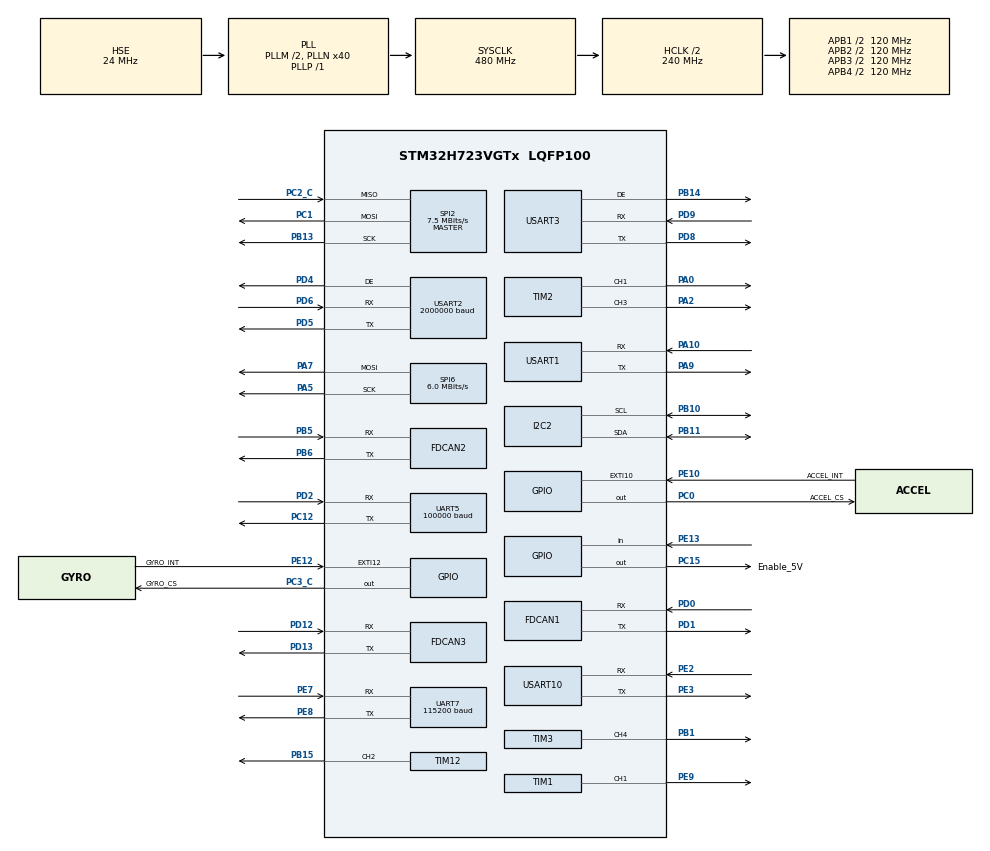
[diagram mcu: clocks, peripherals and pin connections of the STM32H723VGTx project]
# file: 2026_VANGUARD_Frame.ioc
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CORTEX_M7.AccessPermission_Spec=MPU_REGION_FULL_ACCESS
CORTEX_M7.BaseAddress_Spec=0x24000000
CORTEX_M7.CPU_DCache=Disabled
CORTEX_M7.CPU_ICache=Disabled
CORTEX_M7.DisableExec_Spec=MPU_INSTRUCTION_ACCESS_ENABLE
CORTEX_M7.IsShareable_Spec=MPU_ACCESS_NOT_SHAREABLE
CORTEX_M7.MPU_Control=__NULL
CORTEX_M7.Size_Spec=MPU_REGION_SIZE_512KB
CORTEX_M7.SubRegionDisable_Spec=0x0
CORTEX_M7.TypeExtField_Spec=MPU_TEX_LEVEL1
CORTEX_M7.default_mode_Activation=0
Dma.Request0=UART7_RX
Dma.Request1=UART7_TX
Dma.Request2=SPI2_RX
Dma.Request3=SPI2_TX
Dma.Request4=UART5_RX
Dma.Request5=USART1_RX
Dma.Request6=USART1_TX
Dma.Request7=USART2_RX
Dma.Request8=USART2_TX
Dma.SPI2_RX.2.Direction=DMA_PERIPH_TO_MEMORY
Dma.SPI2_RX.2.EventEnable=DISABLE
Dma.SPI2_RX.2.FIFOMode=DMA_FIFOMODE_DISABLE
Dma.SPI2_RX.2.Instance=DMA1_Stream2
Dma.SPI2_RX.2.MemDataAlignment=DMA_MDATAALIGN_BYTE
Dma.SPI2_RX.2.MemInc=DMA_MINC_ENABLE
Dma.SPI2_RX.2.Mode=DMA_NORMAL
Dma.SPI2_RX.2.PeriphDataAlignment=DMA_PDATAALIGN_BYTE
Dma.SPI2_RX.2.PeriphInc=DMA_PINC_DISABLE
Dma.SPI2_RX.2.Polarity=HAL_DMAMUX_REQ_GEN_RISING
Dma.SPI2_RX.2.Priority=DMA_PRIORITY_MEDIUM
Dma.SPI2_RX.2.RequestNumber=1
Dma.SPI2_RX.2.SignalID=NONE
Dma.SPI2_RX.2.SyncEnable=DISABLE
Dma.SPI2_RX.2.SyncPolarity=HAL_DMAMUX_SYNC_NO_EVENT
Dma.SPI2_RX.2.SyncRequestNumber=1
Dma.SPI2_RX.2.SyncSignalID=NONE
Dma.SPI2_TX.3.Direction=DMA_MEMORY_TO_PERIPH
Dma.SPI2_TX.3.EventEnable=DISABLE
Dma.SPI2_TX.3.FIFOMode=DMA_FIFOMODE_DISABLE
Dma.SPI2_TX.3.Instance=DMA1_Stream3
Dma.SPI2_TX.3.MemDataAlignment=DMA_MDATAALIGN_BYTE
Dma.SPI2_TX.3.MemInc=DMA_MINC_ENABLE
Dma.SPI2_TX.3.Mode=DMA_NORMAL
Dma.SPI2_TX.3.PeriphDataAlignment=DMA_PDATAALIGN_BYTE
Dma.SPI2_TX.3.PeriphInc=DMA_PINC_DISABLE
Dma.SPI2_TX.3.Polarity=HAL_DMAMUX_REQ_GEN_RISING
Dma.SPI2_TX.3.Priority=DMA_PRIORITY_LOW
Dma.SPI2_TX.3.RequestNumber=1
Dma.SPI2_TX.3.SignalID=NONE
Dma.SPI2_TX.3.SyncEnable=DISABLE
Dma.SPI2_TX.3.SyncPolarity=HAL_DMAMUX_SYNC_NO_EVENT
Dma.SPI2_TX.3.SyncRequestNumber=1
Dma.SPI2_TX.3.SyncSignalID=NONE
Dma.UART5_RX.4.Direction=DMA_PERIPH_TO_MEMORY
Dma.UART5_RX.4.EventEnable=DISABLE
Dma.UART5_RX.4.FIFOMode=DMA_FIFOMODE_DISABLE
Dma.UART5_RX.4.Instance=DMA1_Stream4
Dma.UART5_RX.4.MemDataAlignment=DMA_MDATAALIGN_BYTE
Dma.UART5_RX.4.MemInc=DMA_MINC_ENABLE
Dma.UART5_RX.4.Mode=DMA_NORMAL
Dma.UART5_RX.4.PeriphDataAlignment=DMA_PDATAALIGN_BYTE
Dma.UART5_RX.4.PeriphInc=DMA_PINC_DISABLE
Dma.UART5_RX.4.Polarity=HAL_DMAMUX_REQ_GEN_RISING
Dma.UART5_RX.4.Priority=DMA_PRIORITY_LOW
Dma.UART5_RX.4.RequestNumber=1
Dma.UART5_RX.4.SignalID=NONE
Dma.UART5_RX.4.SyncEnable=DISABLE
Dma.UART5_RX.4.SyncPolarity=HAL_DMAMUX_SYNC_NO_EVENT
Dma.UART5_RX.4.SyncRequestNumber=1
Dma.UART5_RX.4.SyncSignalID=NONE
Dma.UART7_RX.0.Direction=DMA_PERIPH_TO_MEMORY
Dma.UART7_RX.0.EventEnable=DISABLE
Dma.UART7_RX.0.FIFOMode=DMA_FIFOMODE_DISABLE
Dma.UART7_RX.0.Instance=DMA1_Stream0
Dma.UART7_RX.0.MemDataAlignment=DMA_MDATAALIGN_BYTE
Dma.UART7_RX.0.MemInc=DMA_MINC_ENABLE
Dma.UART7_RX.0.Mode=DMA_NORMAL
Dma.UART7_RX.0.PeriphDataAlignment=DMA_PDATAALIGN_BYTE
Dma.UART7_RX.0.PeriphInc=DMA_PINC_DISABLE
Dma.UART7_RX.0.Polarity=HAL_DMAMUX_REQ_GEN_RISING
Dma.UART7_RX.0.Priority=DMA_PRIORITY_LOW
Dma.UART7_RX.0.RequestNumber=1
Dma.UART7_RX.0.SignalID=NONE
Dma.UART7_RX.0.SyncEnable=DISABLE
Dma.UART7_RX.0.SyncPolarity=HAL_DMAMUX_SYNC_NO_EVENT
Dma.UART7_RX.0.SyncRequestNumber=1
Dma.UART7_RX.0.SyncSignalID=NONE
Dma.UART7_TX.1.Direction=DMA_MEMORY_TO_PERIPH
Dma.UART7_TX.1.EventEnable=DISABLE
Dma.UART7_TX.1.FIFOMode=DMA_FIFOMODE_DISABLE
Dma.UART7_TX.1.Instance=DMA1_Stream1
Dma.UART7_TX.1.MemDataAlignment=DMA_MDATAALIGN_BYTE
Dma.UART7_TX.1.MemInc=DMA_MINC_ENABLE
Dma.UART7_TX.1.Mode=DMA_NORMAL
Dma.UART7_TX.1.PeriphDataAlignment=DMA_PDATAALIGN_BYTE
Dma.UART7_TX.1.PeriphInc=DMA_PINC_DISABLE
Dma.UART7_TX.1.Polarity=HAL_DMAMUX_REQ_GEN_RISING
Dma.UART7_TX.1.Priority=DMA_PRIORITY_LOW
Dma.UART7_TX.1.RequestNumber=1
Dma.UART7_TX.1.SignalID=NONE
Dma.UART7_TX.1.SyncEnable=DISABLE
Dma.UART7_TX.1.SyncPolarity=HAL_DMAMUX_SYNC_NO_EVENT
Dma.UART7_TX.1.SyncRequestNumber=1
Dma.UART7_TX.1.SyncSignalID=NONE
Dma.USART1_RX.5.Direction=DMA_PERIPH_TO_MEMORY
Dma.USART1_RX.5.EventEnable=DISABLE
Dma.USART1_RX.5.FIFOMode=DMA_FIFOMODE_DISABLE
Dma.USART1_RX.5.Instance=DMA1_Stream5
Dma.USART1_RX.5.MemDataAlignment=DMA_MDATAALIGN_BYTE
Dma.USART1_RX.5.MemInc=DMA_MINC_ENABLE
Dma.USART1_RX.5.Mode=DMA_NORMAL
Dma.USART1_RX.5.PeriphDataAlignment=DMA_PDATAALIGN_BYTE
Dma.USART1_RX.5.PeriphInc=DMA_PINC_DISABLE
Dma.USART1_RX.5.Polarity=HAL_DMAMUX_REQ_GEN_RISING
Dma.USART1_RX.5.Priority=DMA_PRIORITY_VERY_HIGH
Dma.USART1_RX.5.RequestNumber=1
Dma.USART1_RX.5.SignalID=NONE
Dma.USART1_RX.5.SyncEnable=DISABLE
Dma.USART1_RX.5.SyncPolarity=HAL_DMAMUX_SYNC_NO_EVENT
Dma.USART1_RX.5.SyncRequestNumber=1
Dma.USART1_RX.5.SyncSignalID=NONE
Dma.USART1_TX.6.Direction=DMA_MEMORY_TO_PERIPH
Dma.USART1_TX.6.EventEnable=DISABLE
Dma.USART1_TX.6.FIFOMode=DMA_FIFOMODE_DISABLE
Dma.USART1_TX.6.Instance=DMA1_Stream6
Dma.USART1_TX.6.MemDataAlignment=DMA_MDATAALIGN_BYTE
Dma.USART1_TX.6.MemInc=DMA_MINC_ENABLE
Dma.USART1_TX.6.Mode=DMA_NORMAL
Dma.USART1_TX.6.PeriphDataAlignment=DMA_PDATAALIGN_BYTE
Dma.USART1_TX.6.PeriphInc=DMA_PINC_DISABLE
Dma.USART1_TX.6.Polarity=HAL_DMAMUX_REQ_GEN_RISING
Dma.USART1_TX.6.Priority=DMA_PRIORITY_VERY_HIGH
Dma.USART1_TX.6.RequestNumber=1
Dma.USART1_TX.6.SignalID=NONE
Dma.USART1_TX.6.SyncEnable=DISABLE
Dma.USART1_TX.6.SyncPolarity=HAL_DMAMUX_SYNC_NO_EVENT
Dma.USART1_TX.6.SyncRequestNumber=1
Dma.USART1_TX.6.SyncSignalID=NONE
Dma.USART2_RX.7.Direction=DMA_PERIPH_TO_MEMORY
Dma.USART2_RX.7.EventEnable=DISABLE
Dma.USART2_RX.7.FIFOMode=DMA_FIFOMODE_DISABLE
Dma.USART2_RX.7.Instance=DMA2_Stream1
Dma.USART2_RX.7.MemDataAlignment=DMA_MDATAALIGN_BYTE
Dma.USART2_RX.7.MemInc=DMA_MINC_ENABLE
Dma.USART2_RX.7.Mode=DMA_CIRCULAR
Dma.USART2_RX.7.PeriphDataAlignment=DMA_PDATAALIGN_BYTE
Dma.USART2_RX.7.PeriphInc=DMA_PINC_DISABLE
Dma.USART2_RX.7.Polarity=HAL_DMAMUX_REQ_GEN_RISING
Dma.USART2_RX.7.Priority=DMA_PRIORITY_HIGH
Dma.USART2_RX.7.RequestNumber=1
Dma.USART2_RX.7.SignalID=NONE
Dma.USART2_RX.7.SyncEnable=DISABLE
Dma.USART2_RX.7.SyncPolarity=HAL_DMAMUX_SYNC_NO_EVENT
Dma.USART2_RX.7.SyncRequestNumber=1
Dma.USART2_RX.7.SyncSignalID=NONE
Dma.USART2_TX.8.Direction=DMA_MEMORY_TO_PERIPH
Dma.USART2_TX.8.EventEnable=DISABLE
Dma.USART2_TX.8.FIFOMode=DMA_FIFOMODE_DISABLE
Dma.USART2_TX.8.Instance=DMA2_Stream0
Dma.USART2_TX.8.MemDataAlignment=DMA_MDATAALIGN_BYTE
Dma.USART2_TX.8.MemInc=DMA_MINC_ENABLE
Dma.USART2_TX.8.Mode=DMA_NORMAL
Dma.USART2_TX.8.PeriphDataAlignment=DMA_PDATAALIGN_BYTE
Dma.USART2_TX.8.PeriphInc=DMA_PINC_DISABLE
Dma.USART2_TX.8.Polarity=HAL_DMAMUX_REQ_GEN_RISING
Dma.USART2_TX.8.Priority=DMA_PRIORITY_HIGH
Dma.USART2_TX.8.RequestNumber=1
Dma.USART2_TX.8.SignalID=NONE
Dma.USART2_TX.8.SyncEnable=DISABLE
Dma.USART2_TX.8.SyncPolarity=HAL_DMAMUX_SYNC_NO_EVENT
Dma.USART2_TX.8.SyncRequestNumber=1
Dma.USART2_TX.8.SyncSignalID=NONE
FDCAN1.AutoRetransmission=ENABLE
FDCAN1.CalculateBaudRateNominal=1000000
FDCAN1.CalculateTimeBitNominal=1000
FDCAN1.CalculateTimeQuantumNominal=200.0
FDCAN1.DataPrescaler=1
FDCAN1.DataSyncJumpWidth=5
FDCAN1.DataTimeSeg1=14
FDCAN1.DataTimeSeg2=5
FDCAN1.FrameFormat=FDCAN_FRAME_FD_NO_BRS
FDCAN1.NominalPrescaler=24
FDCAN1.NominalSyncJumpWidth=5
FDCAN1.NominalTimeSeg1=2
FDCAN1.NominalTimeSeg2=2
FDCAN1.ProtocolException=DISABLE
FDCAN1.RxFifo0ElmtsNbr=16
FDCAN1.RxFifo1ElmtsNbr=16
FDCAN1.StdFiltersNbr=42
FDCAN1.TxBuffersNbr=0
FDCAN1.TxFifoQueueElmtsNbr=32
FDCAN1.TxFifoQueueMode=FDCAN_TX_FIFO_OPERATION
FDCAN2.AutoRetransmission=ENABLE
FDCAN2.CalculateBaudRateNominal=1000000
FDCAN2.CalculateTimeBitNominal=1000
FDCAN2.CalculateTimeQuantumNominal=200.0
FDCAN2.DataSyncJumpWidth=5
FDCAN2.DataTimeSeg1=14
FDCAN2.DataTimeSeg2=5
FDCAN2.FrameFormat=FDCAN_FRAME_FD_NO_BRS
FDCAN2.MessageRAMOffset=853
FDCAN2.NominalPrescaler=24
FDCAN2.NominalSyncJumpWidth=5
FDCAN2.NominalTimeSeg1=2
FDCAN2.NominalTimeSeg2=2
FDCAN2.ProtocolException=DISABLE
FDCAN2.RxFifo0ElmtsNbr=16
FDCAN2.RxFifo1ElmtsNbr=16
FDCAN2.StdFiltersNbr=42
FDCAN2.TxFifoQueueElmtsNbr=32
FDCAN3.AutoRetransmission=ENABLE
FDCAN3.CalculateBaudRateNominal=1000000
FDCAN3.CalculateTimeBitNominal=1000
FDCAN3.CalculateTimeQuantumNominal=25.0
FDCAN3.DataPrescaler=3
FDCAN3.DataSyncJumpWidth=10
FDCAN3.DataTimeSeg1=29
FDCAN3.DataTimeSeg2=10
FDCAN3.MessageRAMOffset=1708
FDCAN3.NominalPrescaler=3
FDCAN3.NominalSyncJumpWidth=10
FDCAN3.NominalTimeSeg1=29
FDCAN3.NominalTimeSeg2=10
FDCAN3.ProtocolException=DISABLE
FDCAN3.RxFifo0ElmtsNbr=16
FDCAN3.RxFifo1ElmtsNbr=16
FDCAN3.StdFiltersNbr=42
FDCAN3.TxFifoQueueElmtsNbr=32
FREERTOS.Tasks01=defaultTask,24,128,StartDefaultTask,Default,NULL,Static,defaultTaskBuffer,defaultTaskControlBlock;UI_Task,25,1024,Start_UI_Task,Default,NULL,Static,UI_TaskBuffer,UI_TaskControlBlock
I2C2.Timing=0x307075B1
Mcu.Family=STM32H7
Mcu.Name=STM32H723VGTx
Mcu.Package=LQFP100
NVIC.DMA1_Stream0_IRQn=true\:5\:0\:false\:false\:true\:true\:false\:true\:true
NVIC.DMA1_Stream1_IRQn=true\:5\:0\:false\:false\:true\:true\:false\:true\:true
NVIC.DMA1_Stream2_IRQn=true\:5\:0\:false\:false\:true\:true\:false\:true\:true
NVIC.DMA1_Stream3_IRQn=true\:5\:0\:false\:false\:true\:true\:false\:true\:true
NVIC.DMA1_Stream4_IRQn=true\:5\:0\:false\:false\:true\:true\:false\:true\:true
NVIC.DMA1_Stream5_IRQn=true\:5\:0\:false\:false\:true\:true\:false\:true\:true
NVIC.DMA1_Stream6_IRQn=true\:5\:0\:false\:false\:true\:true\:false\:true\:true
NVIC.DMA2_Stream0_IRQn=true\:5\:0\:false\:false\:true\:true\:false\:true\:true
NVIC.DMA2_Stream1_IRQn=true\:5\:0\:false\:false\:true\:true\:false\:true\:true
NVIC.EXTI15_10_IRQn=true\:5\:0\:false\:false\:true\:true\:true\:true\:true
NVIC.FDCAN1_IT0_IRQn=true\:5\:0\:false\:false\:true\:true\:true\:true\:true
NVIC.FDCAN1_IT1_IRQn=true\:5\:0\:false\:false\:true\:true\:true\:true\:true
NVIC.FDCAN2_IT0_IRQn=true\:5\:0\:false\:false\:true\:true\:true\:true\:true
NVIC.FDCAN2_IT1_IRQn=true\:5\:0\:false\:false\:true\:true\:true\:true\:true
NVIC.FDCAN3_IT0_IRQn=true\:5\:0\:false\:false\:true\:true\:true\:true\:true
NVIC.FDCAN3_IT1_IRQn=true\:5\:0\:false\:false\:true\:true\:true\:true\:true
NVIC.PriorityGroup=NVIC_PRIORITYGROUP_4
NVIC.RNG_IRQn=true\:5\:0\:false\:false\:true\:true\:true\:true\:true
NVIC.SPI2_IRQn=true\:5\:0\:false\:false\:true\:true\:true\:true\:true
NVIC.TIM7_IRQn=true\:15\:0\:false\:false\:true\:false\:false\:true\:true
NVIC.TimeBase=TIM7_IRQn
NVIC.TimeBaseIP=TIM7
NVIC.UART5_IRQn=true\:5\:0\:false\:false\:true\:true\:true\:true\:true
NVIC.UART7_IRQn=true\:5\:0\:false\:false\:true\:true\:true\:true\:true
NVIC.USART10_IRQn=true\:5\:0\:false\:false\:true\:true\:true\:true\:true
NVIC.USART1_IRQn=true\:5\:0\:false\:false\:true\:true\:true\:true\:true
NVIC.USART2_IRQn=true\:5\:0\:false\:false\:true\:true\:true\:true\:true
NVIC.USART3_IRQn=true\:5\:0\:false\:false\:true\:true\:true\:true\:true
PA0.Signal=S_TIM2_CH1_ETR
PA10.GPIO_PuPd=GPIO_NOPULL
PA10.GPIO_Speed=GPIO_SPEED_FREQ_LOW
PA10.Mode=Asynchronous
PA10.Signal=USART1_RX
PA13(JTMS/SWDIO).Mode=Serial_Wire
PA13(JTMS/SWDIO).Signal=DEBUG_JTMS-SWDIO
PA14(JTCK/SWCLK).Mode=Serial_Wire
PA14(JTCK/SWCLK).Signal=DEBUG_JTCK-SWCLK
PA2.Signal=S_TIM2_CH3
PA5.Mode=TX_Only_Simplex_Unidirect_Master
PA5.Signal=SPI6_SCK
PA7.Mode=TX_Only_Simplex_Unidirect_Master
PA7.Signal=SPI6_MOSI
PA9.GPIO_PuPd=GPIO_NOPULL
PA9.GPIO_Speed=GPIO_SPEED_FREQ_LOW
PA9.Mode=Asynchronous
PA9.Signal=USART1_TX
PB1.Signal=S_TIM3_CH4
PB10.Mode=I2C
PB10.Signal=I2C2_SCL
PB11.Mode=I2C
PB11.Signal=I2C2_SDA
PB13.GPIO_Speed=GPIO_SPEED_FREQ_VERY_HIGH
PB13.Mode=Full_Duplex_Master
PB13.Signal=SPI2_SCK
PB14.Mode=Hardware Flow Control (RS485)
PB14.Signal=USART3_DE
PB15.Signal=S_TIM12_CH2
PB5.GPIO_Speed=GPIO_SPEED_FREQ_HIGH
PB5.Mode=FDCAN_Activate
PB5.Signal=FDCAN2_RX
PB6.GPIO_Speed=GPIO_SPEED_FREQ_HIGH
PB6.Mode=FDCAN_Activate
PB6.Signal=FDCAN2_TX
PC0.GPIO_Label=ACCEL_CS
PC0.GPIO_PuPd=GPIO_PULLUP
PC0.GPIO_Speed=GPIO_SPEED_FREQ_HIGH
PC0.PinState=GPIO_PIN_SET
PC0.Signal=GPIO_Output
PC1.GPIO_Speed=GPIO_SPEED_FREQ_VERY_HIGH
PC1.Mode=Full_Duplex_Master
PC1.Signal=SPI2_MOSI
PC12.Mode=Asynchronous
PC12.Signal=UART5_TX
PC15-OSC32_OUT.GPIO_Label=Enable_5V
PC15-OSC32_OUT.Signal=GPIO_Output
PC2_C.GPIO_Speed=GPIO_SPEED_FREQ_VERY_HIGH
PC2_C.Mode=Full_Duplex_Master
PC2_C.Signal=SPI2_MISO
PC3_C.GPIO_Label=GYRO_CS
PC3_C.GPIO_PuPd=GPIO_PULLUP
PC3_C.GPIO_Speed=GPIO_SPEED_FREQ_HIGH
PC3_C.PinState=GPIO_PIN_SET
PC3_C.Signal=GPIO_Output
PD0.GPIO_Speed=GPIO_SPEED_FREQ_HIGH
PD0.Mode=FDCAN_Activate
PD0.Signal=FDCAN1_RX
PD1.GPIO_Speed=GPIO_SPEED_FREQ_HIGH
PD1.Mode=FDCAN_Activate
PD1.Signal=FDCAN1_TX
PD12.GPIO_Speed=GPIO_SPEED_FREQ_HIGH
PD12.Mode=FDCAN_Activate
PD12.Signal=FDCAN3_RX
PD13.GPIO_Speed=GPIO_SPEED_FREQ_HIGH
PD13.Mode=FDCAN_Activate
PD13.Signal=FDCAN3_TX
PD2.Mode=Asynchronous
PD2.Signal=UART5_RX
PD4.GPIO_Speed=GPIO_SPEED_FREQ_VERY_HIGH
PD4.Mode=Hardware Flow Control (RS485)
PD4.Signal=USART2_DE
PD5.GPIO_Speed=GPIO_SPEED_FREQ_VERY_HIGH
PD5.Mode=Asynchronous
PD5.Signal=USART2_TX
PD6.GPIO_Speed=GPIO_SPEED_FREQ_VERY_HIGH
PD6.Mode=Asynchronous
PD6.Signal=USART2_RX
PD8.Mode=Asynchronous
PD8.Signal=USART3_TX
PD9.Mode=Asynchronous
PD9.Signal=USART3_RX
PE10.GPIO_Label=ACCEL_INT
PE10.GPIO_ModeDefaultEXTI=GPIO_MODE_IT_FALLING
PE10.GPIO_PuPd=GPIO_NOPULL
PE10.Signal=GPXTI10
PE12.GPIO_Label=GYRO_INT
PE12.GPIO_ModeDefaultEXTI=GPIO_MODE_IT_FALLING
PE12.GPIO_PuPd=GPIO_NOPULL
PE12.Signal=GPXTI12
PE13.GPIO_PuPd=GPIO_PULLDOWN
PE13.Signal=GPIO_Input
PE2.Mode=Asynchronous
PE2.Signal=USART10_RX
PE3.Mode=Asynchronous
PE3.Signal=USART10_TX
PE7.Mode=Asynchronous
PE7.Signal=UART7_RX
PE8.Mode=Asynchronous
PE8.Signal=UART7_TX
PE9.Signal=S_TIM1_CH1
PH0-OSC_IN.Mode=HSE-External-Oscillator
PH0-OSC_IN.Signal=RCC_OSC_IN
PH1-OSC_OUT.Mode=HSE-External-Oscillator
PH1-OSC_OUT.Signal=RCC_OSC_OUT
ProjectManager.HeapSize=0x4000
ProjectManager.StackSize=0x4000
ProjectManager.TargetToolchain=MDK-ARM V5.32
RCC.ADCFreq_Value=240000000
RCC.APB1Freq_Value=120000000
RCC.APB2Freq_Value=120000000
RCC.APB3Freq_Value=120000000
RCC.APB4Freq_Value=120000000
RCC.CortexFreq_Value=480000000
RCC.D1PPRE=RCC_APB3_DIV2
RCC.D2PPRE1=RCC_APB1_DIV2
RCC.D2PPRE2=RCC_APB2_DIV2
RCC.D3PPRE=RCC_APB4_DIV2
RCC.DIVM1=2
RCC.DIVM2=2
RCC.DIVN1=40
RCC.DIVN2=40
RCC.DIVP1=1
RCC.DIVQ1=4
RCC.DIVQ2=20
RCC.HCLKFreq_Value=240000000
RCC.HPRE=RCC_HCLK_DIV2
RCC.HSE_VALUE=24000000
RCC.PLLSourceVirtual=RCC_PLLSOURCE_HSE
RCC.SPI6CLockSelection=RCC_SPI6CLKSOURCE_PLL2
RCC.SYSCLKFreq_VALUE=480000000
RCC.SYSCLKSource=RCC_SYSCLKSOURCE_PLLCLK
RCC.USBFreq_Value=120000000
SH.S_TIM12_CH2.0=TIM12_CH2,PWM Generation2 CH2
SH.S_TIM1_CH1.0=TIM1_CH1,PWM Generation1 CH1
SH.S_TIM2_CH1_ETR.0=TIM2_CH1,PWM Generation1 CH1
SH.S_TIM2_CH3.0=TIM2_CH3,PWM Generation3 CH3
SH.S_TIM3_CH4.0=TIM3_CH4,PWM Generation4 CH4
SPI2.BaudRatePrescaler=SPI_BAUDRATEPRESCALER_16
SPI2.CLKPhase=SPI_PHASE_2EDGE
SPI2.CLKPolarity=SPI_POLARITY_HIGH
SPI2.CalculateBaudRate=7.5 MBits/s
SPI2.DataSize=SPI_DATASIZE_8BIT
SPI2.Direction=SPI_DIRECTION_2LINES
SPI2.Mode=SPI_MODE_MASTER
SPI2.VirtualType=VM_MASTER
SPI6.BaudRatePrescaler=SPI_BAUDRATEPRESCALER_4
SPI6.CLKPhase=SPI_PHASE_2EDGE
SPI6.CalculateBaudRate=6.0 MBits/s
SPI6.DataSize=SPI_DATASIZE_8BIT
SPI6.Direction=SPI_DIRECTION_2LINES_TXONLY
SPI6.Mode=SPI_MODE_MASTER
SPI6.VirtualType=VM_MASTER
STMicroelectronics.X-CUBE-ALGOBUILD.1.4.0.LibraryCcDSPOoLibraryJjDSPOoLibrary=true
TIM1.Channel-PWM\ Generation1\ CH1=TIM_CHANNEL_1
TIM12.Channel-PWM\ Generation2\ CH2=TIM_CHANNEL_2
TIM12.Period=2000-1
TIM12.Prescaler=24-1
TIM12.Pulse-PWM\ Generation2\ CH2=1000
TIM2.Channel-PWM\ Generation1\ CH1=TIM_CHANNEL_1
TIM2.Channel-PWM\ Generation3\ CH3=TIM_CHANNEL_3
TIM3.Channel-PWM\ Generation4\ CH4=TIM_CHANNEL_4
TIM3.Period=20000-1
TIM3.Prescaler=24-1
UART5.BaudRate=100000
UART5.Mode=MODE_RX
UART5.OverrunDisableParam=UART_ADVFEATURE_OVERRUN_DISABLE
UART5.Parity=PARITY_EVEN
UART5.StopBits=UART_STOPBITS_2
UART5.WordLength=WORDLENGTH_9B
UART7.BaudRate=115200
USART1.VirtualMode-Asynchronous=VM_ASYNC
USART10.VirtualMode=VM_ASYNC
USART2.BaudRate=2000000
USART2.VirtualMode-Asynchronous=VM_ASYNC
USART2.VirtualMode-Hardware\ Flow\ Control\ (RS485)=VM_ASYNC
USART3.VirtualMode-Asynchronous=VM_ASYNC
USART3.VirtualMode-Hardware\ Flow\ Control\ (RS485)=VM_ASYNC
VP_FREERTOS_VS_CMSIS_V2.Mode=CMSIS_V2
VP_MEMORYMAP_VS_MEMORYMAP.Mode=CurAppReg
VP_RNG_VS_RNG.Mode=RNG_Activate
VP_STMicroelectronics.X-CUBE-ALGOBUILD_VS_DSPOoLibraryJjLibrary_1.4.0_1.4.0.Mode=DSPOoLibraryJjLibrary
VP_SYS_VS_tim7.Mode=TIM7
board=custom

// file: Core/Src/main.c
/* USER CODE BEGIN Header */
/**
  ******************************************************************************
  * @file           : main.c
  * @brief          : Main program body
  ******************************************************************************
  * @attention
  *
  * Copyright (c) 2025 STMicroelectronics.
  * All rights reserved.
  *
  * This software is licensed under terms that can be found in the LICENSE file
  * in the root directory of this software component.
  * If no LICENSE file comes with this software, it is provided AS-IS.
  *
  ******************************************************************************
  */
/* USER CODE END Header */
#include "main.h"
#include "cmsis_os.h"
#include "dma.h"
#include "fdcan.h"
#include "i2c.h"
#include "rng.h"
#include "spi.h"
#include "tim.h"
#include "usart.h"
#include "gpio.h"

/* USER CODE BEGIN Includes */
#include "robot_frame_init.h"
/* USER CODE END Includes */

void SystemClock_Config(void);
void MX_FREERTOS_Init(void);

int main(void)
{

  /* MCU Configuration--------------------------------------------------------*/

  /* Reset of all peripherals, Initializes the Flash interface and the Systick. */
  HAL_Init();

  /* Configure the system clock */
  SystemClock_Config();

  /* Initialize all configured peripherals */
  MX_GPIO_Init();
  MX_DMA_Init();
  MX_TIM1_Init();
  MX_TIM2_Init();
  MX_UART5_Init();
  MX_UART7_Init();
  MX_USART1_UART_Init();
  MX_USART2_UART_Init();
  MX_USART3_UART_Init();
  MX_USART10_UART_Init();
  MX_FDCAN1_Init();
  MX_FDCAN2_Init();
  MX_FDCAN3_Init();
  MX_SPI2_Init();
  MX_SPI6_Init();
  MX_TIM3_Init();
  MX_TIM12_Init();
  MX_I2C2_Init();
  MX_RNG_Init();
  /* USER CODE BEGIN 2 */
  Robot_Frame_Init();
  /* USER CODE END 2 */

  /* Init scheduler */
  osKernelInitialize();  /* Call init function for freertos objects (in cmsis_os2.c) */
  MX_FREERTOS_Init();

  /* Start scheduler */
  osKernelStart();

  /* We should never get here as control is now taken by the scheduler */

  /* Infinite loop */
  while (1)
  {

  }
}

void SystemClock_Config(void)
{
  RCC_OscInitTypeDef RCC_OscInitStruct = {0};
  RCC_ClkInitTypeDef RCC_ClkInitStruct = {0};

  /** Supply configuration update enable
  */
  HAL_PWREx_ConfigSupply(PWR_LDO_SUPPLY);

  /** Configure the main internal regulator output voltage
  */
  __HAL_PWR_VOLTAGESCALING_CONFIG(PWR_REGULATOR_VOLTAGE_SCALE0);

  while(!__HAL_PWR_GET_FLAG(PWR_FLAG_VOSRDY)) {}

  /** Initializes the RCC Oscillators according to the specified parameters
  * in the RCC_OscInitTypeDef structure.
  */
  RCC_OscInitStruct.OscillatorType = RCC_OSCILLATORTYPE_HSI48|RCC_OSCILLATORTYPE_HSE;
  RCC_OscInitStruct.HSEState = RCC_HSE_ON;
  RCC_OscInitStruct.HSI48State = RCC_HSI48_ON;
  RCC_OscInitStruct.PLL.PLLState = RCC_PLL_ON;
  RCC_OscInitStruct.PLL.PLLSource = RCC_PLLSOURCE_HSE;
  RCC_OscInitStruct.PLL.PLLM = 2;
  RCC_OscInitStruct.PLL.PLLN = 40;
  RCC_OscInitStruct.PLL.PLLP = 1;
  RCC_OscInitStruct.PLL.PLLQ = 4;
  RCC_OscInitStruct.PLL.PLLR = 2;
  RCC_OscInitStruct.PLL.PLLRGE = RCC_PLL1VCIRANGE_3;
  RCC_OscInitStruct.PLL.PLLVCOSEL = RCC_PLL1VCOWIDE;
  RCC_OscInitStruct.PLL.PLLFRACN = 0;
  if (HAL_RCC_OscConfig(&RCC_OscInitStruct) != HAL_OK)
  {
    Error_Handler();
  }

  /** Initializes the CPU, AHB and APB buses clocks
  */
  RCC_ClkInitStruct.ClockType = RCC_CLOCKTYPE_HCLK|RCC_CLOCKTYPE_SYSCLK
                              |RCC_CLOCKTYPE_PCLK1|RCC_CLOCKTYPE_PCLK2
                              |RCC_CLOCKTYPE_D3PCLK1|RCC_CLOCKTYPE_D1PCLK1;
  RCC_ClkInitStruct.SYSCLKSource = RCC_SYSCLKSOURCE_PLLCLK;
  RCC_ClkInitStruct.SYSCLKDivider = RCC_SYSCLK_DIV1;
  RCC_ClkInitStruct.AHBCLKDivider = RCC_HCLK_DIV2;
  RCC_ClkInitStruct.APB3CLKDivider = RCC_APB3_DIV2;
  RCC_ClkInitStruct.APB1CLKDivider = RCC_APB1_DIV2;
  RCC_ClkInitStruct.APB2CLKDivider = RCC_APB2_DIV2;
  RCC_ClkInitStruct.APB4CLKDivider = RCC_APB4_DIV2;

  if (HAL_RCC_ClockConfig(&RCC_ClkInitStruct, FLASH_LATENCY_3) != HAL_OK)
  {
    Error_Handler();
  }
}

void HAL_TIM_PeriodElapsedCallback(TIM_HandleTypeDef *htim)
{
  if (htim->Instance == TIM7)
  {
    HAL_IncTick();
  }
}

void Error_Handler(void)
{
  __disable_irq();
  while (1)
  {
  }
}

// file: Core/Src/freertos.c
/* USER CODE BEGIN Header */
/**
 ******************************************************************************
 * File Name          : freertos.c
 * Description        : Code for freertos applications
 ******************************************************************************
 * @attention
 *
 * Copyright (c) 2025 STMicroelectronics.
 * All rights reserved.
 *
 * This software is licensed under terms that can be found in the LICENSE file
 * in the root directory of this software component.
 * If no LICENSE file comes with this software, it is provided AS-IS.
 *
 ******************************************************************************
 */
/* USER CODE END Header */

#include "FreeRTOS.h"
#include "task.h"
#include "main.h"
#include "cmsis_os.h"

/* USER CODE BEGIN Includes */
/******************************这里是塞💩的地方，请随便塞💩*****************************/
#include "rng.h"
#include "robot_frame_init.h"
#include "buzzer.h"
#include "ws2812.h"
#include "remote_control.h"
#include "rs485.h"

#include "referee_task.h"

#include "bsp_usart.h"

/******************************这里是塞💩的地方，请随便塞💩*****************************/
/* USER CODE END Includes */

typedef StaticTask_t osStaticThreadDef_t;
/* USER CODE BEGIN PTD */
extern RC_ctrl_t *rc_data;
/* USER CODE END PTD */

/* Definitions for defaultTask */
osThreadId_t defaultTaskHandle;
uint32_t defaultTaskBuffer[ 128 ];
osStaticThreadDef_t defaultTaskControlBlock;
const osThreadAttr_t defaultTask_attributes = {
  .name = "defaultTask",
  .cb_mem = &defaultTaskControlBlock,
  .cb_size = sizeof(defaultTaskControlBlock),
  .stack_mem = &defaultTaskBuffer[0],
  .stack_size = sizeof(defaultTaskBuffer),
  .priority = (osPriority_t) osPriorityNormal,
};
/* Definitions for UI_Task */
osThreadId_t UI_TaskHandle;
uint32_t UI_TaskBuffer[ 1024 ];
osStaticThreadDef_t UI_TaskControlBlock;
const osThreadAttr_t UI_Task_attributes = {
  .name = "UI_Task",
  .cb_mem = &UI_TaskControlBlock,
  .cb_size = sizeof(UI_TaskControlBlock),
  .stack_mem = &UI_TaskBuffer[0],
  .stack_size = sizeof(UI_TaskBuffer),
  .priority = (osPriority_t) osPriorityNormal1,
};

void StartDefaultTask(void *argument);
void Start_UI_Task(void *argument);

void MX_FREERTOS_Init(void); /* (MISRA C 2004 rule 8.1) */

void MX_FREERTOS_Init(void) {

  /* Create the thread(s) */
  /* creation of defaultTask */
  defaultTaskHandle = osThreadNew(StartDefaultTask, NULL, &defaultTask_attributes);

  /* creation of UI_Task */
  UI_TaskHandle = osThreadNew(Start_UI_Task, NULL, &UI_Task_attributes);

  /* USER CODE BEGIN RTOS_THREADS */
  /* add threads, ... */

  // Robot_Frame_Task_Init();

  /* USER CODE END RTOS_THREADS */

}

/* USER CODE BEGIN Header_StartDefaultTask */
/**
 * @brief  Function implementing the defaultTask thread.
 * @param  argument: Not used
 * @retval None
 */
/******************************这里是塞💩的地方，请随便塞💩*****************************/
uint32_t beat = 0;
/* USER CODE END Header_StartDefaultTask */
void StartDefaultTask(void *argument)
{
  /* USER CODE BEGIN StartDefaultTask */
  WS2812_Control(ws2812_instance, GREEN_WS2812_COLOR);
  Buzzer_Play(StartUP_sound, 0);
  osDelay(1500);
  /* Infinite loop */
  for (;;)
  {
    static uint8_t music_lock = 0;
    if (rc_data->online == 0)
    {
      if (music_lock == 0)
      {
        Buzzer_Play(No_RC_sound, 0);
        music_lock = 1;
      }
    }
    else if (rc_data->online == 1)
    {
      if (music_lock == 1)
      {
        Buzzer_Play(Yes_RC_sound, 0);
        music_lock = 0;
      }
    }

    beat++;
//    if ((beat % 120000) == 0)
//    {
//      Buzzer_Play(Super_Mario_sound, 0);
//    }
//    else if ((beat % 30000) == 0)
//    {
//      Buzzer_Play(Heartbeat_sound, 0);
//    }
//    else if ((beat % 55555) == 0)
//    {
//      Buzzer_Play(Call_Airsupport_sound, 0);
//    }

    if(rs485_command.online == 0)
	  {
		  if((beat % 1000) == 0)
		  {
			  Buzzer_Play(Err_sound, 0);
		  }
	  }

    // 有💩
    //     uint32_t rand_data = 0;
    //     HAL_RNG_GenerateRandomNumber(&hrng, (uint32_t*)&rand_data);
    //
    //		if(rand_data == 0xFFFFFFFF)
    //		{
    //			Buzzer_Play(Call_Airsupport_sound, 0);
    //		}

    osDelay(1);
  }
  /* USER CODE END StartDefaultTask */
}

void Start_UI_Task(void *argument)
{
  /* USER CODE BEGIN Start_UI_Task */
  uint8_t first_flag = 0;
  osDelay(1500);
  /* Infinite loop */
  for (;;)
  {
    if (first_flag == 0)
    {
      User_UI_Init();
      first_flag = 1;
    }

    if (rs485_rx_message.ui_refresh_flag == 1)
    {
      User_UI_Init();
      osDelay(910);
    }

    UI_Task();
  }
  /* USER CODE END Start_UI_Task */
}

/* USER CODE BEGIN Application */
/******************************这里是塞💩的地方，请随便塞💩*****************************/
/* USER CODE END Application */
